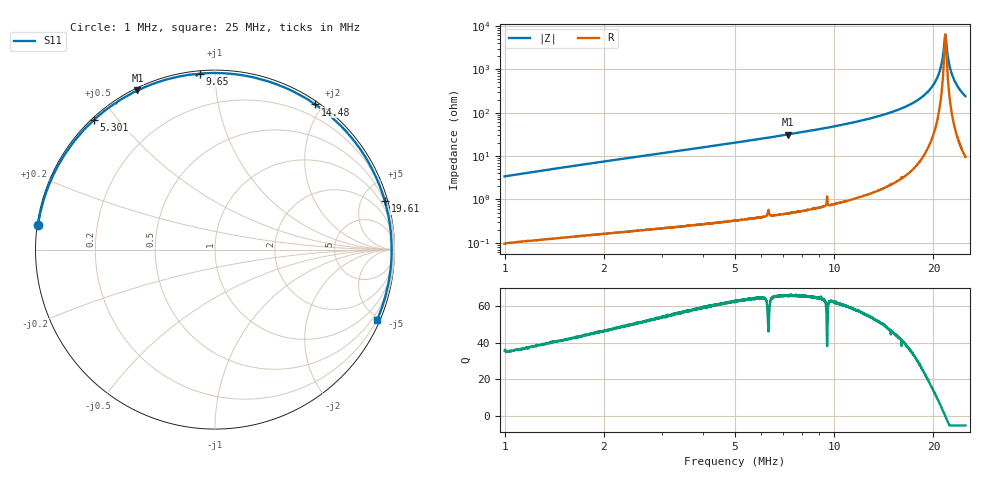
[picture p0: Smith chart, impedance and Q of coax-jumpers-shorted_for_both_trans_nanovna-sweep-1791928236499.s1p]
! NanoVNA Web complex sweep
! Processing: unaveraged complex samples; linear segment spacing; no smoothing
# Hz S RI R 50
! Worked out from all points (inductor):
!   5050 points, 1 MHz to 25 MHz, reference 50 ohm
!   read as one part to ground: L = 581 nH near 1.119 MHz
!   highest Q = 65.8 at 7.222 MHz (marker M1), where L = 689 nH
!   self-resonance near 21.73 MHz
!   S11 on the Smith chart (normalised r, x): 1 MHz: 0.00, +0.07; 5.301 MHz: 0.01, +0.43; 9.65 MHz: 0.01, +0.92; 14.48 MHz: 0.04, +1.91; 19.61 MHz: 0.42, +7.15; 25 MHz: 0.19, -4.78
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1000000  -0.987 0.1349
1698691  -0.9637 0.2448
2454418  -0.9256 0.359
3214898  -0.8743 0.4676
4003896  -0.8081 0.5723
5301465  -0.6741 0.7229
6142746  -0.5728 0.8043
7003039  -0.4616 0.872
7221677  -0.4318 0.8869
8457457  -0.2573 0.951
9089606  -0.1648 0.9708
9650460  -0.0845 0.9805
1.000218e7  -0.0317 0.9835
1.072939e7  0.0725 0.9808
1.147561e7  0.1775 0.9671
1.221708e7  0.2787 0.9427
1.300132e7  0.3812 0.9061
1.375705e7  0.4746 0.8608
1.448426e7  0.5588 0.8088
1.600047e7  0.7126 0.6759
1.748816e7  0.8335 0.5228
1.828191e7  0.884 0.432
1.899961e7  0.9214 0.3451
1.961275e7  0.9465 0.269
2.080575e7  0.977 0.1181
2.199875e7  0.9837 -0.0335
2.343416e7  0.9612 -0.2114
2.49979e7  0.902 -0.3936
